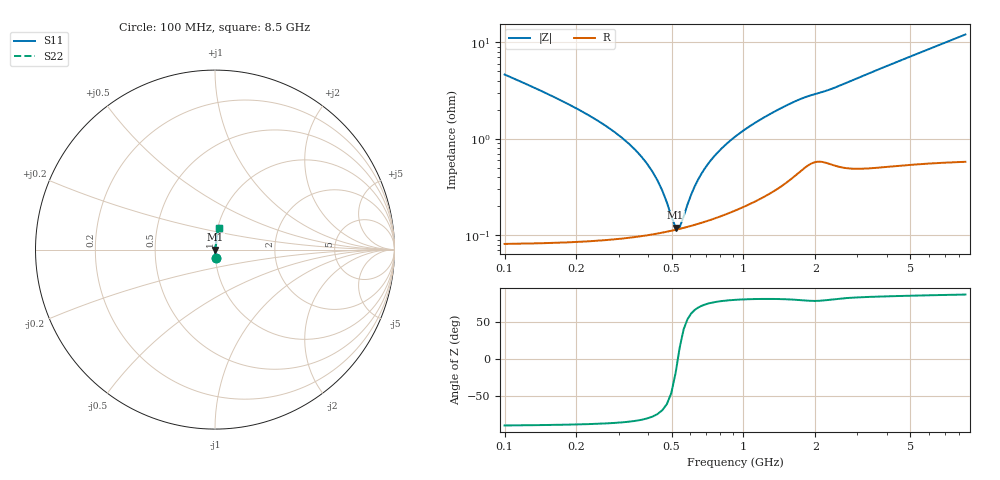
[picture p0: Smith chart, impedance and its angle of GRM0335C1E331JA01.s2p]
!Murata Part Number: GRM0335C1E331JA01
!These Parameters are Measured in Series Mode Connection
!Data Generated on Mar 30, 2021
!  o--ll--o
!Port1  Port2
!  o------o
!Operation Temp=25[degC], DC Bias Voltage=0[V]
!Freq. Start=100[MHz] Stop=9[GHz] 401[Steps]
# Hz S RI R 50
!Freq.(Hz) S11(Real) S11(Imag) S21(Real) S21(Imag) S12(Real) S12(Imag) S22(Real) S22(Imag)
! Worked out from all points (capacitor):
!   401 points, 100 MHz to 8.5 GHz, reference 50 ohm
!   read as one part in series: C = 330 pF near 142 MHz
!   lowest |Z| = 120 mohm at 520 MHz (marker M1)
!   series resonance near 531.1 MHz, so ESL is about 270 pH
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1e8  0.00297 -0.0463  0.997 0.0463  0.997 0.0463  0.00297 -0.0463
1.42e8  0.00182 -0.0314  0.9982 0.0314  0.9982 0.0314  0.00182 -0.0314
1.84e8  0.00137 -0.023  0.9986 0.023  0.9986 0.023  0.00137 -0.023
3.73e8  0.00102 -0.00652  0.999 0.00652  0.999 0.00652  0.00102 -0.00652
4.36e8  0.00105 -0.00358  0.9989 0.00358  0.9989 0.00358  0.00105 -0.00358
4.99e8  0.00112 -0.00112  0.9989 0.00112  0.9989 0.00112  0.00112 -0.00112
5.2e8  0.00114 -0.000378  0.9989 0.000378  0.9989 0.000378  0.00114 -0.000378
5.41e8  0.00117 0.000335  0.9988 -0.000335  0.9988 -0.000335  0.00117 0.000335
5.62e8  0.0012 0.00102  0.9988 -0.00102  0.9988 -0.00102  0.0012 0.00102
6.25e8  0.00129 0.00294  0.9987 -0.00294  0.9987 -0.00294  0.00129 0.00294
6.88e8  0.0014 0.0047  0.9986 -0.0047  0.9986 -0.0047  0.0014 0.0047
7.51e8  0.00152 0.00633  0.9985 -0.00633  0.9985 -0.00633  0.00152 0.00633
8.35e8  0.0017 0.00836  0.9983 -0.00836  0.9983 -0.00836  0.0017 0.00836
9.61e8  0.00201 0.0112  0.998 -0.0112  0.998 -0.0112  0.00201 0.0112
1.108e9  0.00241 0.0142  0.9976 -0.0142  0.9976 -0.0142  0.00241 0.0142
1.507e9  0.00395 0.0217  0.9961 -0.0217  0.9961 -0.0217  0.00395 0.0217
1.864e9  0.006 0.0269  0.994 -0.0269  0.994 -0.0269  0.006 0.0269
2.914e9  0.00654 0.0406  0.9935 -0.0406  0.9935 -0.0406  0.00654 0.0406
4.3e9  0.00887 0.0604  0.9911 -0.0604  0.9911 -0.0604  0.00887 0.0604
5.707e9  0.0119 0.0799  0.9881 -0.0799  0.9881 -0.0799  0.0119 0.0799
7.114e9  0.0156 0.0991  0.9844 -0.0991  0.9844 -0.0991  0.0156 0.0991
8.5e9  0.0199 0.1178  0.9801 -0.1178  0.9801 -0.1178  0.0199 0.1178
